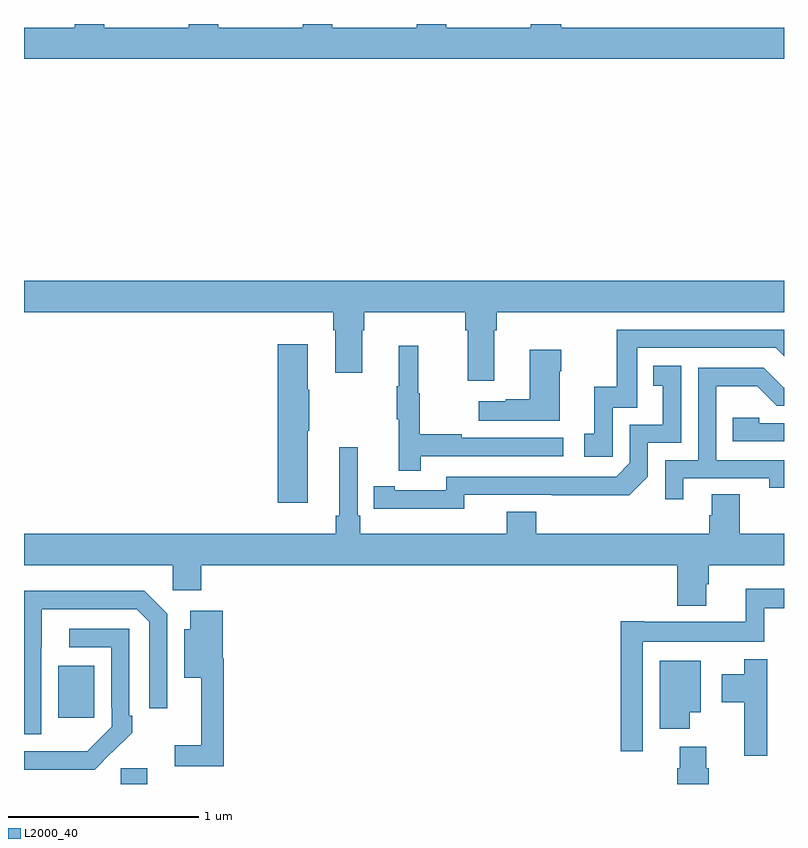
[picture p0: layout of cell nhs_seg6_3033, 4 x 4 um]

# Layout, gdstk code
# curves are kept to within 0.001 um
import gdstk
lib = gdstk.Library(unit=1e-6, precision=1e-09)
def R(c, l, rs):  # rectangles x0, y0, x1, y1
    for r in rs: c.add(gdstk.rectangle(r[:2], r[2:], *l))
def P(c, l, *ps):  # polygons
    for p in ps: c.add(gdstk.Polygon(p, *l))
L2000_40 = (2000, 40)

nhs_seg6_3033 = lib.new_cell('nhs_seg6_3033')
R(nhs_seg6_3033, L2000_40, [(289.509,963.5,289.648,963.582), (289.181,963.849,289.369,964.123)])
P(nhs_seg6_3033, L2000_40, [(293,967.48),(291.827,967.48),(291.827,967.5),(291.667,967.5),(291.667,967.48),(291.222,967.48),(291.222,967.5),(291.067,967.5),(291.067,967.48),(290.622,967.48),(290.622,967.5),(290.467,967.5),(290.467,967.48),(290.022,967.48),(290.022,967.5),(289.867,967.5),(289.867,967.48),(289.422,967.48),(289.422,967.5),(289.267,967.5),(289.267,967.48),(289,967.48),(289,967.316),(293,967.316)],
  [(291.475,965.888),(291.488,965.888),(291.488,965.984),(293,965.984),(293,966.148),(289,966.148),(289,965.984),(290.627,965.984),(290.627,965.888),(290.639,965.888),(290.639,965.664),(290.779,965.664),(290.779,965.888),(290.792,965.888),(290.792,965.984),(291.323,965.984),(291.323,965.888),(291.335,965.888),(291.335,965.622),(291.475,965.622)],
  [(292.098,965.481),(292.227,965.481),(292.227,965.796),(292.956,965.796),(293,965.752),(293,965.89),(292.998,965.892),(292.119,965.892),(292.119,965.59),(292.001,965.59),(292.001,965.343),(291.948,965.343),(291.948,965.223),(292.098,965.223)],
  [(290.494,965.359),(290.502,965.359),(290.502,965.576),(290.494,965.576),(290.494,965.815),(290.336,965.815),(290.336,964.98),(290.494,964.98)],
  [(291.089,965.226),(291.838,965.226),(291.838,965.322),(291.305,965.322),(291.305,965.342),(291.082,965.342),(291.082,965.556),(291.074,965.556),(291.074,965.806),(290.972,965.806),(290.972,965.593),(290.961,965.593),(290.961,965.419),(290.972,965.419),(290.972,965.148),(291.089,965.148)],
  [(291.82,965.672),(291.828,965.672),(291.828,965.785),(291.662,965.785),(291.662,965.525),(291.536,965.525),(291.536,965.515),(291.393,965.515),(291.393,965.411),(291.82,965.411)],
  [(291.318,965.022),(292.186,965.021),(292.284,965.118),(292.284,965.295),(292.458,965.295),(292.458,965.701),(292.312,965.701),(292.312,965.595),(292.361,965.595),(292.361,965.391),(292.188,965.391),(292.188,965.19),(292.116,965.118),(291.222,965.118),(291.222,965.046),(290.95,965.046),(290.95,965.066),(290.842,965.066),(290.842,964.95),(291.318,964.949)],
  [(292.471,965.109),(292.922,965.109),(292.922,965.058),(293,965.058),(293,965.205),(292.644,965.205),(292.644,965.594),(292.858,965.594),(292.962,965.49),(293,965.49),(293,965.586),(292.894,965.691),(292.548,965.691),(292.548,965.205),(292.374,965.205),(292.374,964.998),(292.471,964.998)],
  [(293,965.4),(292.869,965.4),(292.869,965.427),(292.729,965.427),(292.729,965.304),(293,965.304)],
  [(292.591,964.551),(292.604,964.551),(292.604,964.652),(293,964.652),(293,964.816),(292.767,964.816),(292.767,965.024),(292.619,965.024),(292.619,964.914),(292.607,964.914),(292.607,964.816),(291.695,964.816),(291.695,964.933),(291.542,964.933),(291.542,964.816),(290.771,964.816),(290.771,964.912),(290.757,964.912),(290.757,965.272),(290.66,965.272),(290.66,964.912),(290.641,964.912),(290.641,964.816),(289,964.816),(289,964.652),(289.782,964.652),(289.782,964.521),(289.934,964.521),(289.934,964.652),(292.439,964.652),(292.439,964.439),(292.591,964.439)],
  [(292.257,964.25),(292.896,964.25),(292.896,964.424),(293,964.424),(293,964.528),(292.799,964.528),(292.799,964.354),(292.264,964.354),(292.264,964.357),(292.141,964.357),(292.141,963.672),(292.257,963.672)],
  [(289.092,964.219),(289.093,964.219),(289.093,964.419),(289.593,964.419),(289.659,964.353),(289.659,963.9),(289.755,963.9),(289.755,964.395),(289.634,964.516),(289,964.516),(289,963.762),(289.092,963.762)],
  [(290.051,964.162),(290.045,964.162),(290.045,964.411),(289.874,964.411),(289.874,964.315),(289.844,964.315),(289.844,964.058),(289.934,964.058),(289.934,963.703),(289.794,963.703),(289.794,963.594),(290.051,963.594)],
  [(289.463,963.667),(289.464,963.666),(289.569,963.771),(289.569,963.859),(289.554,963.859),(289.554,964.317),(289.239,964.317),(289.239,964.221),(289.458,964.221),(289.458,963.901),(289.461,963.901),(289.461,963.801),(289.333,963.673),(289,963.672),(289,963.576),(289.372,963.576)],
  [(292.912,964.156),(292.79,964.156),(292.79,964.078),(292.673,964.078),(292.673,963.931),(292.79,963.931),(292.79,963.648),(292.912,963.648)],
  [(292.504,963.878),(292.561,963.878),(292.561,964.15),(292.346,964.15),(292.346,963.792),(292.504,963.792)],
  [(292.604,963.582),(292.591,963.582),(292.591,963.697),(292.451,963.697),(292.451,963.582),(292.439,963.582),(292.439,963.5),(292.604,963.5)])

lib.write_gds('nhs_seg6_3033.gds')
